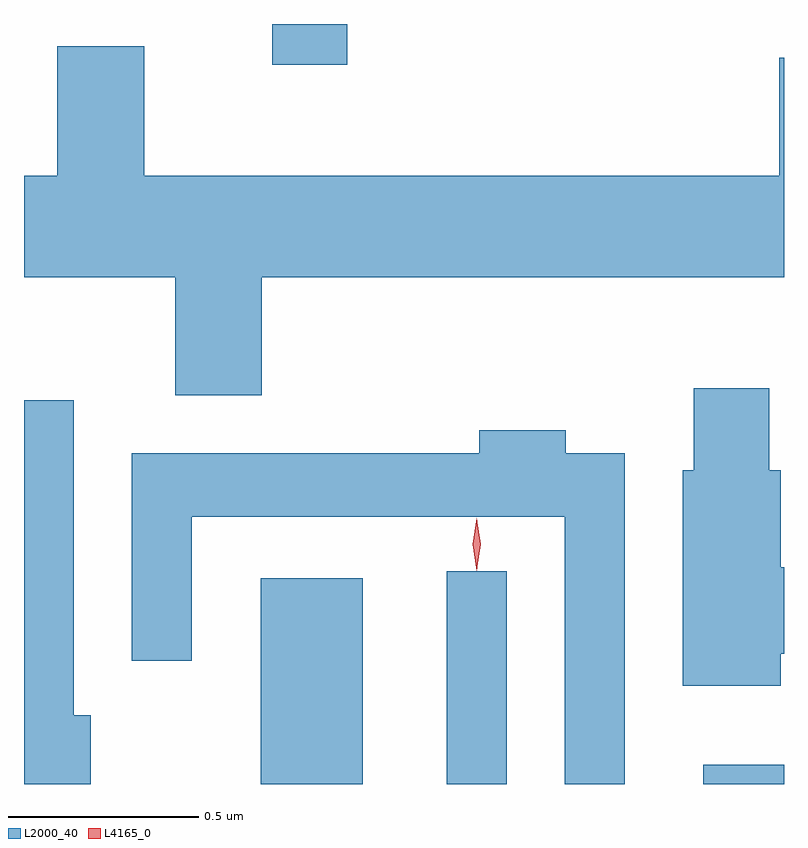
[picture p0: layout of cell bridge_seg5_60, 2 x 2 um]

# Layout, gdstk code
import gdstk
lib = gdstk.Library(unit=1e-6, precision=1e-09)
def R(c, l, rs):  # rectangles x0, y0, x1, y1
    for r in rs: c.add(gdstk.rectangle(r[:2], r[2:], *l))
def P(c, l, *ps):  # polygons
    for p in ps: c.add(gdstk.Polygon(p, *l))
L2000_40 = (2000, 40)
L4165_0 = (4165, 0)

bridge_seg5_60 = lib.new_cell('bridge_seg5_60')
R(bridge_seg5_60, L2000_40, [(1280.126,1471.003,1280.394,1471.544), (1280.616,1471.003,1280.774,1471.563), (1281.291,1471.003,1281.503,1471.054), (1280.156,1472.896,1280.354,1473.003)])
P(bridge_seg5_60, L2000_40, [(1280.129,1472.336),(1281.503,1472.336),(1281.503,1472.914),(1281.491,1472.914),(1281.491,1472.604),(1279.819,1472.604),(1279.819,1472.944),(1279.591,1472.944),(1279.591,1472.604),(1279.503,1472.604),(1279.503,1472.336),(1279.901,1472.336),(1279.901,1472.026),(1280.129,1472.026)],
  [(1281.494,1471.346),(1281.503,1471.346),(1281.503,1471.574),(1281.494,1471.574),(1281.494,1471.829),(1281.464,1471.829),(1281.464,1472.044),(1281.266,1472.044),(1281.266,1471.829),(1281.236,1471.829),(1281.236,1471.261),(1281.494,1471.261)],
  [(1279.679,1471.184),(1279.634,1471.184),(1279.634,1472.013),(1279.503,1472.013),(1279.503,1471.003),(1279.679,1471.003)],
  [(1281.084,1471.874),(1280.929,1471.874),(1280.929,1471.934),(1280.701,1471.934),(1280.701,1471.874),(1279.786,1471.874),(1279.786,1471.328),(1279.944,1471.328),(1279.944,1471.706),(1280.926,1471.706),(1280.926,1471.003),(1281.084,1471.003)])
P(bridge_seg5_60, L4165_0, [(1280.695,1471.567),(1280.694,1471.568),(1280.685,1471.634),(1280.694,1471.7),(1280.695,1471.701),(1280.695,1471.7),(1280.705,1471.634),(1280.695,1471.568)],
  [(1280.694,1471.564),(1280.694,1471.564),(1280.684,1471.634),(1280.694,1471.702),(1280.694,1471.703),(1280.695,1471.702),(1280.704,1471.634),(1280.695,1471.564)])

lib.write_gds('bridge_seg5_60.gds')
